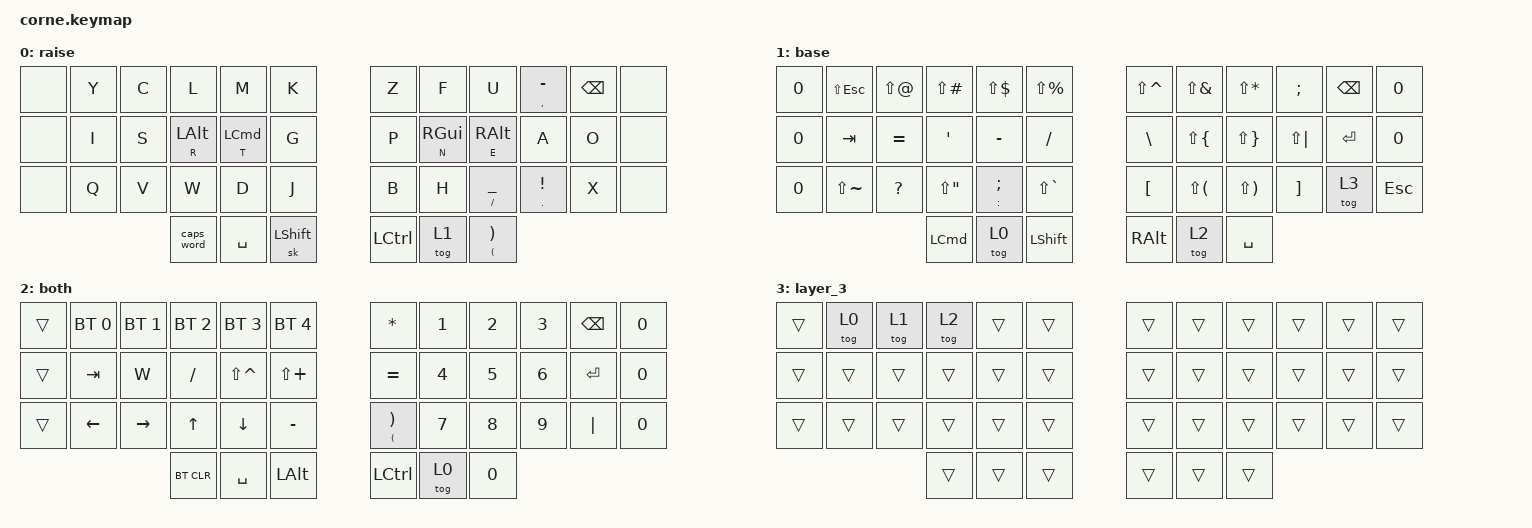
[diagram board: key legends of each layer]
/*
 * Copyright (c) 2020 The ZMK Contributors
 *
 * SPDX-License-Identifier: MIT
 */

#include <behaviors.dtsi>
#include <dt-bindings/zmk/bt.h>
#include <dt-bindings/zmk/keys.h>

// dt-formatter: indent = "  "
// dt-formatter: reindentMultilineIntegerCells = "dedent"

/ {
  behaviors {
    hm: homerow_mods {
      compatible = "zmk,behavior-hold-tap";
      label = "HOMEROW_MODS";
      #binding-cells = <2>;
      tapping-term-ms = <150>;
      quick-tap-ms = <0>;
      flavor = "tap-preferred";
      bindings =
        <&kp>,
        <&kp>;
    };
    new_behavior: new_behavior {
      compatible = "zmk,behavior-hold-tap";
      label = "NEW_BEHAVIOR";
      bindings =
        <&kp>,
        <&kp>;

      #binding-cells = <2>;
      tapping-term-ms = <200>;
    };
  };

  combos {
    compatible = "zmk,combos";

    tab {
      bindings = <&trans>;
      key-positions = <2 3>;
    };

    ctrl {
      bindings = <&kp LCTRL>;
      key-positions = <26 27>;
    };

    cmd {
      bindings = <&kp LCMD>;
      key-positions = <37 38>;
    };

    alt {
      bindings = <&kp LEFT_ALT>;
      key-positions = <39 40>;
    };

    shift {
      bindings = <&kp LSHIFT>;
      key-positions = <8 9>;
    };

    caps_word {
      bindings = <&caps_word>;
      key-positions = <17 18>;
    };

    delete {
      bindings = <&kp DEL>;
      key-positions = <32 33>;
    };
  };

  macros {
    zed_em_kay: zed_em_kay {
      compatible = "zmk,behavior-macro";
      label = "ZM_zed_em_kay";
      #binding-cells = <0>;
      bindings =
        <&macro_press>,
        <&kp LSHFT>,
        <&macro_tap>,
        <&kp Z &kp M &kp K>,
        <&macro_release>,
        <&kp LSHFT>;
    };
  };

  keymap {
    compatible = "zmk,keymap";

    raise {
      bindings = <
&none  &kp Y  &kp C           &kp L               &kp M           &kp K        &kp Z            &kp F                                             &kp U         &new_behavior COMMA MINUS  &kp BACKSPACE  &none
&none  &kp I  &kp S  &hm R LEFT_ALT  &hm T LEFT_COMMAND           &kp G        &kp P  &hm N RIGHT_GUI                                   &hm E RIGHT_ALT                             &kp A          &kp O  &none
&none  &kp Q  &kp V           &kp W               &kp D           &kp J        &kp B            &kp H                    &new_behavior SLASH UNDERSCORE  &new_behavior PERIOD EXCLAMATION          &kp X  &none
                         &caps_word           &kp SPACE  &sk LEFT_SHIFT    &kp LCTRL           &tog 1  &new_behavior LEFT_PARENTHESIS RIGHT_PARENTHESIS
      >;
    };

    base {
      bindings = <
&kp N0    &kp LS(ESC)    &kp LS(AT)      &kp LS(HASH)                 &kp LS(DOLLAR)  &kp LS(PRCNT)    &kp LS(CARET)        &kp LS(AMPS)  &kp LS(STAR)           &kp SEMI  &kp BSPC   &kp N0
&kp N0        &kp TAB     &kp EQUAL           &kp SQT                      &kp MINUS      &kp SLASH         &kp BSLH  &kp LS(LEFT_BRACE)  &kp LS(RBRC)       &kp LS(PIPE)   &kp RET   &kp N0
&kp N0  &kp LS(TILDE)  &kp QUESTION       &kp LS(DQT)  &new_behavior COLON SEMICOLON  &kp LS(GRAVE)         &kp LBKT        &kp LS(LPAR)  &kp LS(RPAR)  &kp RIGHT_BRACKET    &tog 3  &kp ESC
                                     &kp LEFT_COMMAND                         &tog 0      &kp LSHFT         &kp RALT              &tog 2     &kp SPACE
      >;
    };

    both {
      bindings = <
&trans  &bt BT_SEL 0  &bt BT_SEL 1  &bt BT_SEL 2   &bt BT_SEL 3  &bt BT_SEL 4                           &kp ASTERISK  &kp N1        &kp N2  &kp N3  &kp BSPC  &kp N0
&trans       &kp TAB         &kp W     &kp SLASH  &kp LS(CARET)  &kp LS(PLUS)                              &kp EQUAL  &kp N4        &kp N5  &kp N6   &kp RET  &kp N0
&trans      &kp LEFT     &kp RIGHT        &kp UP       &kp DOWN     &kp MINUS    &new_behavior LEFT_PARENTHESIS RPAR  &kp N7        &kp N8  &kp N9  &kp PIPE  &kp N0
                                      &bt BT_CLR      &kp SPACE  &kp LEFT_ALT                       &kp LEFT_CONTROL  &tog 0  &kp NUMBER_0
      >;
    };

    layer_3 {
      bindings = <
&trans  &tog 0  &tog 1  &tog 2  &trans  &trans    &trans  &trans  &trans  &trans  &trans  &trans
&trans  &trans  &trans  &trans  &trans  &trans    &trans  &trans  &trans  &trans  &trans  &trans
&trans  &trans  &trans  &trans  &trans  &trans    &trans  &trans  &trans  &trans  &trans  &trans
                        &trans  &trans  &trans    &trans  &trans  &trans
      >;
    };
  };
};
